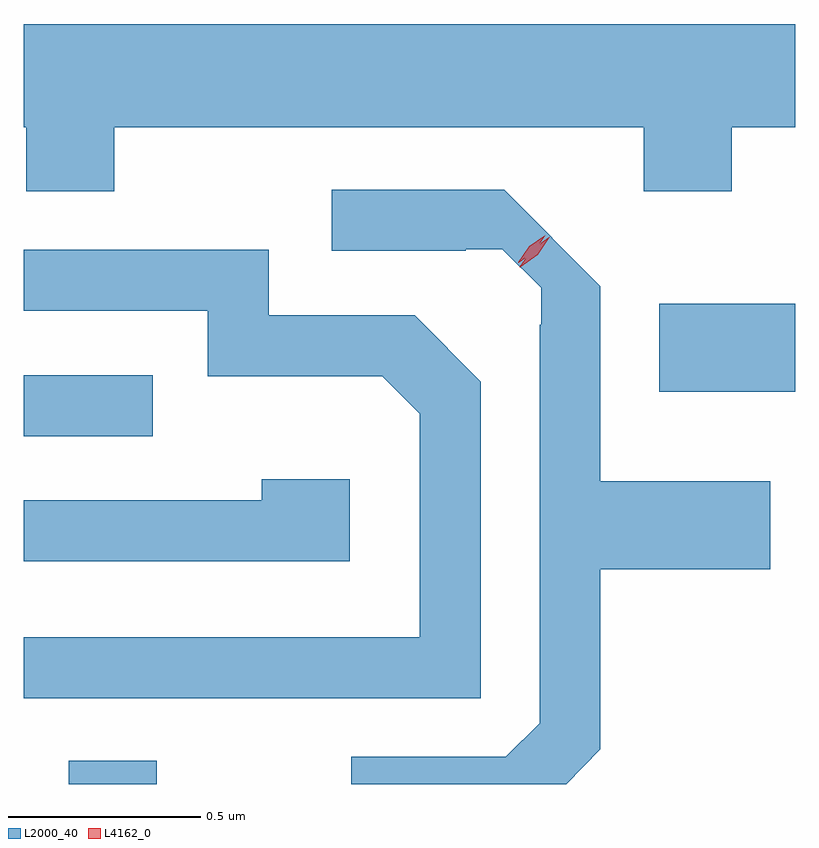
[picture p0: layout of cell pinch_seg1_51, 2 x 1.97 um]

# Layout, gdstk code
import gdstk
lib = gdstk.Library(unit=1e-6, precision=1e-09)
def R(c, l, rs):  # rectangles x0, y0, x1, y1
    for r in rs: c.add(gdstk.rectangle(r[:2], r[2:], *l))
def P(c, l, *ps):  # polygons
    for p in ps: c.add(gdstk.Polygon(p, *l))
L2000_40 = (2000, 40)
L4162_0 = (4162, 0)

pinch_seg1_51 = lib.new_cell('pinch_seg1_51')
R(pinch_seg1_51, L2000_40, [(1107.821,937.834,1108.049,937.894), (1107.704,938.736,1108.038,938.894), (1109.351,938.851,1109.704,939.079)])
P(pinch_seg1_51, L2000_40, [(1107.939,939.536),(1109.311,939.536),(1109.311,939.371),(1109.539,939.371),(1109.539,939.536),(1109.704,939.536),(1109.704,939.804),(1107.704,939.804),(1107.704,939.536),(1107.711,939.536),(1107.711,939.371),(1107.939,939.371)],
  [(1109.199,937.924),(1109.199,938.391),(1109.639,938.391),(1109.639,938.619),(1109.199,938.619),(1109.199,939.124),(1108.949,939.374),(1108.503,939.374),(1108.503,939.216),(1108.85,939.216),(1108.85,939.22),(1108.945,939.22),(1109.045,939.12),(1109.045,939.025),(1109.041,939.025),(1109.041,937.992),(1108.954,937.904),(1108.553,937.904),(1108.553,937.834),(1109.11,937.834)],
  [(1108.889,938.877),(1108.717,939.049),(1108.339,939.049),(1108.339,939.219),(1107.704,939.219),(1107.704,939.061),(1108.181,939.061),(1108.181,938.891),(1108.634,938.891),(1108.731,938.794),(1108.731,938.214),(1107.704,938.214),(1107.704,938.056),(1108.889,938.056)],
  [(1108.549,938.624),(1108.321,938.624),(1108.321,938.569),(1107.704,938.569),(1107.704,938.411),(1108.549,938.411)])
P(pinch_seg1_51, L4162_0, [(1108.99,939.174),(1108.99,939.175),(1109.022,939.22),(1109.067,939.252),(1109.068,939.252),(1109.068,939.252),(1109.036,939.206),(1108.991,939.174)],
  [(1108.986,939.185),(1108.986,939.186),(1109.014,939.228),(1109.056,939.257),(1109.056,939.257),(1109.056,939.256),(1109.028,939.214),(1108.987,939.185)])

lib.write_gds('pinch_seg1_51.gds')
